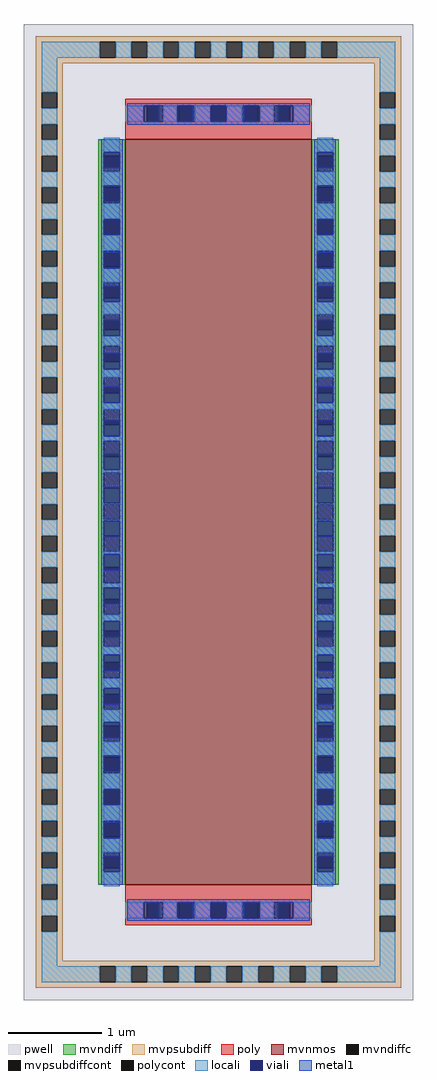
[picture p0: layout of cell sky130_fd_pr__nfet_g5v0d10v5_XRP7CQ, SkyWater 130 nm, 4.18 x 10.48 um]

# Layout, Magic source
magic
tech sky130A
magscale 1 2
<< pwell >>
rect -418 -1048 418 1048
<< mvnmos >>
rect -200 -800 200 800
<< mvndiff >>
rect -258 765 -200 800
rect -258 731 -246 765
rect -212 731 -200 765
rect -258 697 -200 731
rect -258 663 -246 697
rect -212 663 -200 697
rect -258 629 -200 663
rect -258 595 -246 629
rect -212 595 -200 629
rect -258 561 -200 595
rect -258 527 -246 561
rect -212 527 -200 561
rect -258 493 -200 527
rect -258 459 -246 493
rect -212 459 -200 493
rect -258 425 -200 459
rect -258 391 -246 425
rect -212 391 -200 425
rect -258 357 -200 391
rect -258 323 -246 357
rect -212 323 -200 357
rect -258 289 -200 323
rect -258 255 -246 289
rect -212 255 -200 289
rect -258 221 -200 255
rect -258 187 -246 221
rect -212 187 -200 221
rect -258 153 -200 187
rect -258 119 -246 153
rect -212 119 -200 153
rect -258 85 -200 119
rect -258 51 -246 85
rect -212 51 -200 85
rect -258 17 -200 51
rect -258 -17 -246 17
rect -212 -17 -200 17
rect -258 -51 -200 -17
rect -258 -85 -246 -51
rect -212 -85 -200 -51
rect -258 -119 -200 -85
rect -258 -153 -246 -119
rect -212 -153 -200 -119
rect -258 -187 -200 -153
rect -258 -221 -246 -187
rect -212 -221 -200 -187
rect -258 -255 -200 -221
rect -258 -289 -246 -255
rect -212 -289 -200 -255
rect -258 -323 -200 -289
rect -258 -357 -246 -323
rect -212 -357 -200 -323
rect -258 -391 -200 -357
rect -258 -425 -246 -391
rect -212 -425 -200 -391
rect -258 -459 -200 -425
rect -258 -493 -246 -459
rect -212 -493 -200 -459
rect -258 -527 -200 -493
rect -258 -561 -246 -527
rect -212 -561 -200 -527
rect -258 -595 -200 -561
rect -258 -629 -246 -595
rect -212 -629 -200 -595
rect -258 -663 -200 -629
rect -258 -697 -246 -663
rect -212 -697 -200 -663
rect -258 -731 -200 -697
rect -258 -765 -246 -731
rect -212 -765 -200 -731
rect -258 -800 -200 -765
rect 200 765 258 800
rect 200 731 212 765
rect 246 731 258 765
rect 200 697 258 731
rect 200 663 212 697
rect 246 663 258 697
rect 200 629 258 663
rect 200 595 212 629
rect 246 595 258 629
rect 200 561 258 595
rect 200 527 212 561
rect 246 527 258 561
rect 200 493 258 527
rect 200 459 212 493
rect 246 459 258 493
rect 200 425 258 459
rect 200 391 212 425
rect 246 391 258 425
rect 200 357 258 391
rect 200 323 212 357
rect 246 323 258 357
rect 200 289 258 323
rect 200 255 212 289
rect 246 255 258 289
rect 200 221 258 255
rect 200 187 212 221
rect 246 187 258 221
rect 200 153 258 187
rect 200 119 212 153
rect 246 119 258 153
rect 200 85 258 119
rect 200 51 212 85
rect 246 51 258 85
rect 200 17 258 51
rect 200 -17 212 17
rect 246 -17 258 17
rect 200 -51 258 -17
rect 200 -85 212 -51
rect 246 -85 258 -51
rect 200 -119 258 -85
rect 200 -153 212 -119
rect 246 -153 258 -119
rect 200 -187 258 -153
rect 200 -221 212 -187
rect 246 -221 258 -187
rect 200 -255 258 -221
rect 200 -289 212 -255
rect 246 -289 258 -255
rect 200 -323 258 -289
rect 200 -357 212 -323
rect 246 -357 258 -323
rect 200 -391 258 -357
rect 200 -425 212 -391
rect 246 -425 258 -391
rect 200 -459 258 -425
rect 200 -493 212 -459
rect 246 -493 258 -459
rect 200 -527 258 -493
rect 200 -561 212 -527
rect 246 -561 258 -527
rect 200 -595 258 -561
rect 200 -629 212 -595
rect 246 -629 258 -595
rect 200 -663 258 -629
rect 200 -697 212 -663
rect 246 -697 258 -663
rect 200 -731 258 -697
rect 200 -765 212 -731
rect 246 -765 258 -731
rect 200 -800 258 -765
<< mvndiffc >>
rect -246 731 -212 765
rect -246 663 -212 697
rect -246 595 -212 629
rect -246 527 -212 561
rect -246 459 -212 493
rect -246 391 -212 425
rect -246 323 -212 357
rect -246 255 -212 289
rect -246 187 -212 221
rect -246 119 -212 153
rect -246 51 -212 85
rect -246 -17 -212 17
rect -246 -85 -212 -51
rect -246 -153 -212 -119
rect -246 -221 -212 -187
rect -246 -289 -212 -255
rect -246 -357 -212 -323
rect -246 -425 -212 -391
rect -246 -493 -212 -459
rect -246 -561 -212 -527
rect -246 -629 -212 -595
rect -246 -697 -212 -663
rect -246 -765 -212 -731
rect 212 731 246 765
rect 212 663 246 697
rect 212 595 246 629
rect 212 527 246 561
rect 212 459 246 493
rect 212 391 246 425
rect 212 323 246 357
rect 212 255 246 289
rect 212 187 246 221
rect 212 119 246 153
rect 212 51 246 85
rect 212 -17 246 17
rect 212 -85 246 -51
rect 212 -153 246 -119
rect 212 -221 246 -187
rect 212 -289 246 -255
rect 212 -357 246 -323
rect 212 -425 246 -391
rect 212 -493 246 -459
rect 212 -561 246 -527
rect 212 -629 246 -595
rect 212 -697 246 -663
rect 212 -765 246 -731
<< mvpsubdiff >>
rect -392 1010 392 1022
rect -392 976 -255 1010
rect -221 976 -187 1010
rect -153 976 -119 1010
rect -85 976 -51 1010
rect -17 976 17 1010
rect 51 976 85 1010
rect 119 976 153 1010
rect 187 976 221 1010
rect 255 976 392 1010
rect -392 964 392 976
rect -392 901 -334 964
rect -392 867 -380 901
rect -346 867 -334 901
rect 334 901 392 964
rect -392 833 -334 867
rect -392 799 -380 833
rect -346 799 -334 833
rect 334 867 346 901
rect 380 867 392 901
rect 334 833 392 867
rect -392 765 -334 799
rect -392 731 -380 765
rect -346 731 -334 765
rect -392 697 -334 731
rect -392 663 -380 697
rect -346 663 -334 697
rect -392 629 -334 663
rect -392 595 -380 629
rect -346 595 -334 629
rect -392 561 -334 595
rect -392 527 -380 561
rect -346 527 -334 561
rect -392 493 -334 527
rect -392 459 -380 493
rect -346 459 -334 493
rect -392 425 -334 459
rect -392 391 -380 425
rect -346 391 -334 425
rect -392 357 -334 391
rect -392 323 -380 357
rect -346 323 -334 357
rect -392 289 -334 323
rect -392 255 -380 289
rect -346 255 -334 289
rect -392 221 -334 255
rect -392 187 -380 221
rect -346 187 -334 221
rect -392 153 -334 187
rect -392 119 -380 153
rect -346 119 -334 153
rect -392 85 -334 119
rect -392 51 -380 85
rect -346 51 -334 85
rect -392 17 -334 51
rect -392 -17 -380 17
rect -346 -17 -334 17
rect -392 -51 -334 -17
rect -392 -85 -380 -51
rect -346 -85 -334 -51
rect -392 -119 -334 -85
rect -392 -153 -380 -119
rect -346 -153 -334 -119
rect -392 -187 -334 -153
rect -392 -221 -380 -187
rect -346 -221 -334 -187
rect -392 -255 -334 -221
rect -392 -289 -380 -255
rect -346 -289 -334 -255
rect -392 -323 -334 -289
rect -392 -357 -380 -323
rect -346 -357 -334 -323
rect -392 -391 -334 -357
rect -392 -425 -380 -391
rect -346 -425 -334 -391
rect -392 -459 -334 -425
rect -392 -493 -380 -459
rect -346 -493 -334 -459
rect -392 -527 -334 -493
rect -392 -561 -380 -527
rect -346 -561 -334 -527
rect -392 -595 -334 -561
rect -392 -629 -380 -595
rect -346 -629 -334 -595
rect -392 -663 -334 -629
rect -392 -697 -380 -663
rect -346 -697 -334 -663
rect -392 -731 -334 -697
rect -392 -765 -380 -731
rect -346 -765 -334 -731
rect -392 -799 -334 -765
rect -392 -833 -380 -799
rect -346 -833 -334 -799
rect 334 799 346 833
rect 380 799 392 833
rect 334 765 392 799
rect 334 731 346 765
rect 380 731 392 765
rect 334 697 392 731
rect 334 663 346 697
rect 380 663 392 697
rect 334 629 392 663
rect 334 595 346 629
rect 380 595 392 629
rect 334 561 392 595
rect 334 527 346 561
rect 380 527 392 561
rect 334 493 392 527
rect 334 459 346 493
rect 380 459 392 493
rect 334 425 392 459
rect 334 391 346 425
rect 380 391 392 425
rect 334 357 392 391
rect 334 323 346 357
rect 380 323 392 357
rect 334 289 392 323
rect 334 255 346 289
rect 380 255 392 289
rect 334 221 392 255
rect 334 187 346 221
rect 380 187 392 221
rect 334 153 392 187
rect 334 119 346 153
rect 380 119 392 153
rect 334 85 392 119
rect 334 51 346 85
rect 380 51 392 85
rect 334 17 392 51
rect 334 -17 346 17
rect 380 -17 392 17
rect 334 -51 392 -17
rect 334 -85 346 -51
rect 380 -85 392 -51
rect 334 -119 392 -85
rect 334 -153 346 -119
rect 380 -153 392 -119
rect 334 -187 392 -153
rect 334 -221 346 -187
rect 380 -221 392 -187
rect 334 -255 392 -221
rect 334 -289 346 -255
rect 380 -289 392 -255
rect 334 -323 392 -289
rect 334 -357 346 -323
rect 380 -357 392 -323
rect 334 -391 392 -357
rect 334 -425 346 -391
rect 380 -425 392 -391
rect 334 -459 392 -425
rect 334 -493 346 -459
rect 380 -493 392 -459
rect 334 -527 392 -493
rect 334 -561 346 -527
rect 380 -561 392 -527
rect 334 -595 392 -561
rect 334 -629 346 -595
rect 380 -629 392 -595
rect 334 -663 392 -629
rect 334 -697 346 -663
rect 380 -697 392 -663
rect 334 -731 392 -697
rect 334 -765 346 -731
rect 380 -765 392 -731
rect 334 -799 392 -765
rect -392 -867 -334 -833
rect -392 -901 -380 -867
rect -346 -901 -334 -867
rect 334 -833 346 -799
rect 380 -833 392 -799
rect 334 -867 392 -833
rect -392 -964 -334 -901
rect 334 -901 346 -867
rect 380 -901 392 -867
rect 334 -964 392 -901
rect -392 -976 392 -964
rect -392 -1010 -255 -976
rect -221 -1010 -187 -976
rect -153 -1010 -119 -976
rect -85 -1010 -51 -976
rect -17 -1010 17 -976
rect 51 -1010 85 -976
rect 119 -1010 153 -976
rect 187 -1010 221 -976
rect 255 -1010 392 -976
rect -392 -1022 392 -1010
<< mvpsubdiffcont >>
rect -255 976 -221 1010
rect -187 976 -153 1010
rect -119 976 -85 1010
rect -51 976 -17 1010
rect 17 976 51 1010
rect 85 976 119 1010
rect 153 976 187 1010
rect 221 976 255 1010
rect -380 867 -346 901
rect -380 799 -346 833
rect 346 867 380 901
rect -380 731 -346 765
rect -380 663 -346 697
rect -380 595 -346 629
rect -380 527 -346 561
rect -380 459 -346 493
rect -380 391 -346 425
rect -380 323 -346 357
rect -380 255 -346 289
rect -380 187 -346 221
rect -380 119 -346 153
rect -380 51 -346 85
rect -380 -17 -346 17
rect -380 -85 -346 -51
rect -380 -153 -346 -119
rect -380 -221 -346 -187
rect -380 -289 -346 -255
rect -380 -357 -346 -323
rect -380 -425 -346 -391
rect -380 -493 -346 -459
rect -380 -561 -346 -527
rect -380 -629 -346 -595
rect -380 -697 -346 -663
rect -380 -765 -346 -731
rect -380 -833 -346 -799
rect 346 799 380 833
rect 346 731 380 765
rect 346 663 380 697
rect 346 595 380 629
rect 346 527 380 561
rect 346 459 380 493
rect 346 391 380 425
rect 346 323 380 357
rect 346 255 380 289
rect 346 187 380 221
rect 346 119 380 153
rect 346 51 380 85
rect 346 -17 380 17
rect 346 -85 380 -51
rect 346 -153 380 -119
rect 346 -221 380 -187
rect 346 -289 380 -255
rect 346 -357 380 -323
rect 346 -425 380 -391
rect 346 -493 380 -459
rect 346 -561 380 -527
rect 346 -629 380 -595
rect 346 -697 380 -663
rect 346 -765 380 -731
rect -380 -901 -346 -867
rect 346 -833 380 -799
rect 346 -901 380 -867
rect -255 -1010 -221 -976
rect -187 -1010 -153 -976
rect -119 -1010 -85 -976
rect -51 -1010 -17 -976
rect 17 -1010 51 -976
rect 85 -1010 119 -976
rect 153 -1010 187 -976
rect 221 -1010 255 -976
<< poly >>
rect -200 872 200 888
rect -200 838 -153 872
rect -119 838 -85 872
rect -51 838 -17 872
rect 17 838 51 872
rect 85 838 119 872
rect 153 838 200 872
rect -200 800 200 838
rect -200 -838 200 -800
rect -200 -872 -153 -838
rect -119 -872 -85 -838
rect -51 -872 -17 -838
rect 17 -872 51 -838
rect 85 -872 119 -838
rect 153 -872 200 -838
rect -200 -888 200 -872
<< polycont >>
rect -153 838 -119 872
rect -85 838 -51 872
rect -17 838 17 872
rect 51 838 85 872
rect 119 838 153 872
rect -153 -872 -119 -838
rect -85 -872 -51 -838
rect -17 -872 17 -838
rect 51 -872 85 -838
rect 119 -872 153 -838
<< locali >>
rect -380 976 -255 1010
rect -221 976 -187 1010
rect -153 976 -119 1010
rect -85 976 -51 1010
rect -17 976 17 1010
rect 51 976 85 1010
rect 119 976 153 1010
rect 187 976 221 1010
rect 255 976 380 1010
rect -380 901 -346 976
rect 346 901 380 976
rect -380 833 -346 867
rect -200 838 -161 872
rect -119 838 -89 872
rect -51 838 -17 872
rect 17 838 51 872
rect 89 838 119 872
rect 161 838 200 872
rect 346 833 380 867
rect -380 765 -346 799
rect -380 697 -346 731
rect -380 629 -346 663
rect -380 561 -346 595
rect -380 493 -346 527
rect -380 425 -346 459
rect -380 357 -346 391
rect -380 289 -346 323
rect -380 221 -346 255
rect -380 153 -346 187
rect -380 85 -346 119
rect -380 17 -346 51
rect -380 -51 -346 -17
rect -380 -119 -346 -85
rect -380 -187 -346 -153
rect -380 -255 -346 -221
rect -380 -323 -346 -289
rect -380 -391 -346 -357
rect -380 -459 -346 -425
rect -380 -527 -346 -493
rect -380 -595 -346 -561
rect -380 -663 -346 -629
rect -380 -731 -346 -697
rect -380 -799 -346 -765
rect -246 773 -212 804
rect -246 701 -212 731
rect -246 629 -212 663
rect -246 561 -212 595
rect -246 493 -212 523
rect -246 425 -212 451
rect -246 357 -212 379
rect -246 289 -212 307
rect -246 221 -212 235
rect -246 153 -212 163
rect -246 85 -212 91
rect -246 17 -212 19
rect -246 -19 -212 -17
rect -246 -91 -212 -85
rect -246 -163 -212 -153
rect -246 -235 -212 -221
rect -246 -307 -212 -289
rect -246 -379 -212 -357
rect -246 -451 -212 -425
rect -246 -523 -212 -493
rect -246 -595 -212 -561
rect -246 -663 -212 -629
rect -246 -731 -212 -701
rect -246 -804 -212 -773
rect 212 773 246 804
rect 212 701 246 731
rect 212 629 246 663
rect 212 561 246 595
rect 212 493 246 523
rect 212 425 246 451
rect 212 357 246 379
rect 212 289 246 307
rect 212 221 246 235
rect 212 153 246 163
rect 212 85 246 91
rect 212 17 246 19
rect 212 -19 246 -17
rect 212 -91 246 -85
rect 212 -163 246 -153
rect 212 -235 246 -221
rect 212 -307 246 -289
rect 212 -379 246 -357
rect 212 -451 246 -425
rect 212 -523 246 -493
rect 212 -595 246 -561
rect 212 -663 246 -629
rect 212 -731 246 -701
rect 212 -804 246 -773
rect 346 765 380 799
rect 346 697 380 731
rect 346 629 380 663
rect 346 561 380 595
rect 346 493 380 527
rect 346 425 380 459
rect 346 357 380 391
rect 346 289 380 323
rect 346 221 380 255
rect 346 153 380 187
rect 346 85 380 119
rect 346 17 380 51
rect 346 -51 380 -17
rect 346 -119 380 -85
rect 346 -187 380 -153
rect 346 -255 380 -221
rect 346 -323 380 -289
rect 346 -391 380 -357
rect 346 -459 380 -425
rect 346 -527 380 -493
rect 346 -595 380 -561
rect 346 -663 380 -629
rect 346 -731 380 -697
rect 346 -799 380 -765
rect -380 -867 -346 -833
rect -200 -872 -161 -838
rect -119 -872 -89 -838
rect -51 -872 -17 -838
rect 17 -872 51 -838
rect 89 -872 119 -838
rect 161 -872 200 -838
rect 346 -867 380 -833
rect -380 -976 -346 -901
rect 346 -976 380 -901
rect -380 -1010 -255 -976
rect -221 -1010 -187 -976
rect -153 -1010 -119 -976
rect -85 -1010 -51 -976
rect -17 -1010 17 -976
rect 51 -1010 85 -976
rect 119 -1010 153 -976
rect 187 -1010 221 -976
rect 255 -1010 380 -976
<< viali >>
rect -161 838 -153 872
rect -153 838 -127 872
rect -89 838 -85 872
rect -85 838 -55 872
rect -17 838 17 872
rect 55 838 85 872
rect 85 838 89 872
rect 127 838 153 872
rect 153 838 161 872
rect -246 765 -212 773
rect -246 739 -212 765
rect -246 697 -212 701
rect -246 667 -212 697
rect -246 595 -212 629
rect -246 527 -212 557
rect -246 523 -212 527
rect -246 459 -212 485
rect -246 451 -212 459
rect -246 391 -212 413
rect -246 379 -212 391
rect -246 323 -212 341
rect -246 307 -212 323
rect -246 255 -212 269
rect -246 235 -212 255
rect -246 187 -212 197
rect -246 163 -212 187
rect -246 119 -212 125
rect -246 91 -212 119
rect -246 51 -212 53
rect -246 19 -212 51
rect -246 -51 -212 -19
rect -246 -53 -212 -51
rect -246 -119 -212 -91
rect -246 -125 -212 -119
rect -246 -187 -212 -163
rect -246 -197 -212 -187
rect -246 -255 -212 -235
rect -246 -269 -212 -255
rect -246 -323 -212 -307
rect -246 -341 -212 -323
rect -246 -391 -212 -379
rect -246 -413 -212 -391
rect -246 -459 -212 -451
rect -246 -485 -212 -459
rect -246 -527 -212 -523
rect -246 -557 -212 -527
rect -246 -629 -212 -595
rect -246 -697 -212 -667
rect -246 -701 -212 -697
rect -246 -765 -212 -739
rect -246 -773 -212 -765
rect 212 765 246 773
rect 212 739 246 765
rect 212 697 246 701
rect 212 667 246 697
rect 212 595 246 629
rect 212 527 246 557
rect 212 523 246 527
rect 212 459 246 485
rect 212 451 246 459
rect 212 391 246 413
rect 212 379 246 391
rect 212 323 246 341
rect 212 307 246 323
rect 212 255 246 269
rect 212 235 246 255
rect 212 187 246 197
rect 212 163 246 187
rect 212 119 246 125
rect 212 91 246 119
rect 212 51 246 53
rect 212 19 246 51
rect 212 -51 246 -19
rect 212 -53 246 -51
rect 212 -119 246 -91
rect 212 -125 246 -119
rect 212 -187 246 -163
rect 212 -197 246 -187
rect 212 -255 246 -235
rect 212 -269 246 -255
rect 212 -323 246 -307
rect 212 -341 246 -323
rect 212 -391 246 -379
rect 212 -413 246 -391
rect 212 -459 246 -451
rect 212 -485 246 -459
rect 212 -527 246 -523
rect 212 -557 246 -527
rect 212 -629 246 -595
rect 212 -697 246 -667
rect 212 -701 246 -697
rect 212 -765 246 -739
rect 212 -773 246 -765
rect -161 -872 -153 -838
rect -153 -872 -127 -838
rect -89 -872 -85 -838
rect -85 -872 -55 -838
rect -17 -872 17 -838
rect 55 -872 85 -838
rect 85 -872 89 -838
rect 127 -872 153 -838
rect 153 -872 161 -838
<< metal1 >>
rect -196 872 196 878
rect -196 838 -161 872
rect -127 838 -89 872
rect -55 838 -17 872
rect 17 838 55 872
rect 89 838 127 872
rect 161 838 196 872
rect -196 832 196 838
rect -252 773 -206 800
rect -252 739 -246 773
rect -212 739 -206 773
rect -252 701 -206 739
rect -252 667 -246 701
rect -212 667 -206 701
rect -252 629 -206 667
rect -252 595 -246 629
rect -212 595 -206 629
rect -252 557 -206 595
rect -252 523 -246 557
rect -212 523 -206 557
rect -252 485 -206 523
rect -252 451 -246 485
rect -212 451 -206 485
rect -252 413 -206 451
rect -252 379 -246 413
rect -212 379 -206 413
rect -252 341 -206 379
rect -252 307 -246 341
rect -212 307 -206 341
rect -252 269 -206 307
rect -252 235 -246 269
rect -212 235 -206 269
rect -252 197 -206 235
rect -252 163 -246 197
rect -212 163 -206 197
rect -252 125 -206 163
rect -252 91 -246 125
rect -212 91 -206 125
rect -252 53 -206 91
rect -252 19 -246 53
rect -212 19 -206 53
rect -252 -19 -206 19
rect -252 -53 -246 -19
rect -212 -53 -206 -19
rect -252 -91 -206 -53
rect -252 -125 -246 -91
rect -212 -125 -206 -91
rect -252 -163 -206 -125
rect -252 -197 -246 -163
rect -212 -197 -206 -163
rect -252 -235 -206 -197
rect -252 -269 -246 -235
rect -212 -269 -206 -235
rect -252 -307 -206 -269
rect -252 -341 -246 -307
rect -212 -341 -206 -307
rect -252 -379 -206 -341
rect -252 -413 -246 -379
rect -212 -413 -206 -379
rect -252 -451 -206 -413
rect -252 -485 -246 -451
rect -212 -485 -206 -451
rect -252 -523 -206 -485
rect -252 -557 -246 -523
rect -212 -557 -206 -523
rect -252 -595 -206 -557
rect -252 -629 -246 -595
rect -212 -629 -206 -595
rect -252 -667 -206 -629
rect -252 -701 -246 -667
rect -212 -701 -206 -667
rect -252 -739 -206 -701
rect -252 -773 -246 -739
rect -212 -773 -206 -739
rect -252 -800 -206 -773
rect 206 773 252 800
rect 206 739 212 773
rect 246 739 252 773
rect 206 701 252 739
rect 206 667 212 701
rect 246 667 252 701
rect 206 629 252 667
rect 206 595 212 629
rect 246 595 252 629
rect 206 557 252 595
rect 206 523 212 557
rect 246 523 252 557
rect 206 485 252 523
rect 206 451 212 485
rect 246 451 252 485
rect 206 413 252 451
rect 206 379 212 413
rect 246 379 252 413
rect 206 341 252 379
rect 206 307 212 341
rect 246 307 252 341
rect 206 269 252 307
rect 206 235 212 269
rect 246 235 252 269
rect 206 197 252 235
rect 206 163 212 197
rect 246 163 252 197
rect 206 125 252 163
rect 206 91 212 125
rect 246 91 252 125
rect 206 53 252 91
rect 206 19 212 53
rect 246 19 252 53
rect 206 -19 252 19
rect 206 -53 212 -19
rect 246 -53 252 -19
rect 206 -91 252 -53
rect 206 -125 212 -91
rect 246 -125 252 -91
rect 206 -163 252 -125
rect 206 -197 212 -163
rect 246 -197 252 -163
rect 206 -235 252 -197
rect 206 -269 212 -235
rect 246 -269 252 -235
rect 206 -307 252 -269
rect 206 -341 212 -307
rect 246 -341 252 -307
rect 206 -379 252 -341
rect 206 -413 212 -379
rect 246 -413 252 -379
rect 206 -451 252 -413
rect 206 -485 212 -451
rect 246 -485 252 -451
rect 206 -523 252 -485
rect 206 -557 212 -523
rect 246 -557 252 -523
rect 206 -595 252 -557
rect 206 -629 212 -595
rect 246 -629 252 -595
rect 206 -667 252 -629
rect 206 -701 212 -667
rect 246 -701 252 -667
rect 206 -739 252 -701
rect 206 -773 212 -739
rect 246 -773 252 -739
rect 206 -800 252 -773
rect -196 -838 196 -832
rect -196 -872 -161 -838
rect -127 -872 -89 -838
rect -55 -872 -17 -838
rect 17 -872 55 -838
rect 89 -872 127 -838
rect 161 -872 196 -838
rect -196 -878 196 -872
<< properties >>
string FIXED_BBOX -362 -992 362 992
<< end >>
